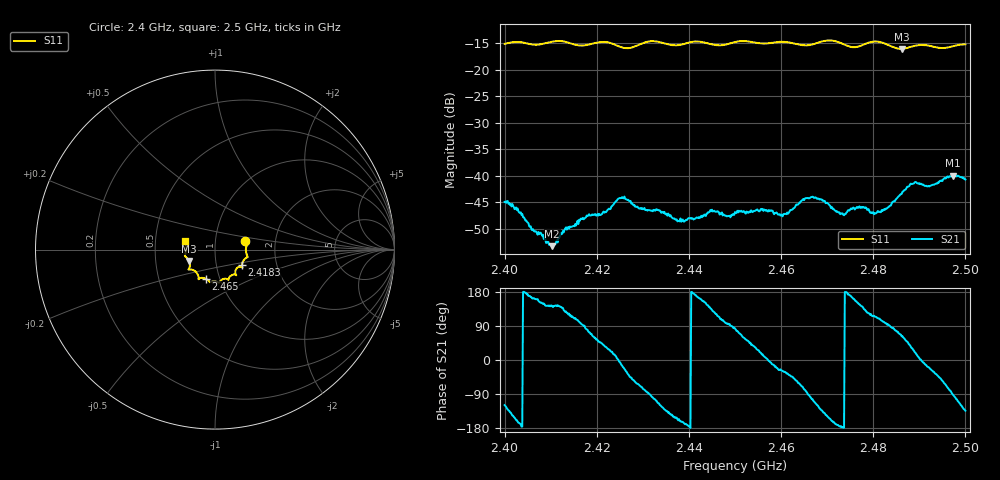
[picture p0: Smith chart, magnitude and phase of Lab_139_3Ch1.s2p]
# Hz S RI R 50
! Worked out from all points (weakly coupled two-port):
!   601 points, 2.4 GHz to 2.5 GHz, reference 50 ohm
!   highest |S21| = -39.95 dB at 2.4973 GHz (marker M1); lowest = -53.3 dB at 2.4103 GHz (marker M2)
!   lowest |S11| = -16.1 dB at 2.4862 GHz (marker M3), VSWR 1.37, Z = 37.2 - j4.85 ohm
!   |S11| at or under -10 dB: start of sweep to end of sweep
!   S12 and S22 are empty: the file has one direction only
!   S11 on the Smith chart (normalised r, x): 2.4 GHz: 1.40, +0.13; 2.4183 GHz: 1.33, -0.24; 2.465 GHz: 0.86, -0.29; 2.5 GHz: 0.71, +0.07
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2.4e9  0.1695 0.0457  -0.00276 -0.00496  0 0  0 0
2.410333e9  0.1802 -0.0363  -0.00171 0.00134  0 0  0 0
2.416667e9  0.1549 -0.0683  -0.000318 0.00393  0 0  0 0
2.418333e9  0.1496 -0.0872  0.00126 0.00415  0 0  0 0
2.421167e9  0.1528 -0.1002  0.00319 0.003  0 0  0 0
2.4255e9  0.1297 -0.0978  0.00608 -0.00161  0 0  0 0
2.428833e9  0.1123 -0.1274  0.00233 -0.00456  0 0  0 0
2.433333e9  0.1174 -0.141  -0.00194 -0.00436  0 0  0 0
2.438e9  0.0825 -0.1502  -0.00351 -0.00124  0 0  0 0
2.445e9  0.062 -0.1621  -0.00319 0.00357  0 0  0 0
2.45e9  0.0256 -0.1809  0.000566 0.00452  0 0  0 0
2.456e9  -0.00104 -0.1771  0.0047 0.00123  0 0  0 0
2.460667e9  -0.0292 -0.1811  0.00372 -0.00228  0 0  0 0
2.465e9  -0.0523 -0.1619  0.00128 -0.00577  0 0  0 0
2.466667e9  -0.0713 -0.1574  -0.00147 -0.00614  0 0  0 0
2.473333e9  -0.0922 -0.1497  -0.00442 -0.000238  0 0  0 0
2.483333e9  -0.1411 -0.0964  -0.000196 0.00505  0 0  0 0
2.486167e9  -0.1438 -0.0636  0.00312 0.00598  0 0  0 0
2.488667e9  -0.1612 -0.0428  0.00752 0.00379  0 0  0 0
2.492167e9  -0.1664 -0.0271  0.00744 -0.00275  0 0  0 0
2.497333e9  -0.1641 0.0304  -0.000363 -0.0101  0 0  0 0
2.5e9  -0.167 0.0463  -0.00637 -0.00667  0 0  0 0
